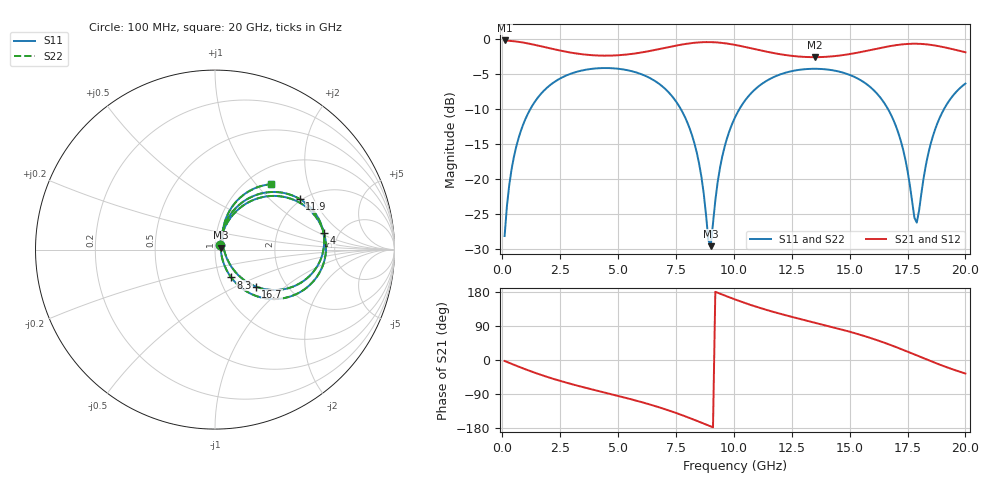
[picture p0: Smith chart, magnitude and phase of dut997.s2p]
! Touchstone file exported from HFSS 2026.1.0
!  File:  C:/ffzhzh/LocalFiles/Ansys_Project_Files/temp_train_TSV_RDL_997_1783289461_38820.aedt
!  Generated:  06:24:30 AM Jul  6, 2026
!  Design:  TSV_RDL
!  Project:  temp_train_TSV_RDL_997_1783289461_38820
! Variables:
!  h_bsmrdl = 5.44um
!  h_ox = 20um
!  h_rdl = 5um
!  h_sub = 67.99um
!  h_tmrdl = 4.85um
!  h_tsv = 67.99um
!  h_via = 3um
!  l_bsmrdl = 950.08um
!  l_sub = 6729.99um
!  l_tmrdl = 841.07um
!  m_sub = 200um
!  pitch = 59.52um
!  r_tsv = 11.59um
!  s_tmrdl = 10um
!  w_bsmrdl = 24.66um
!  w_sub = 500um
!  w_tmrdl = 13.83um
!  x_tsv_center1 = 847.985um
!  x_tsv_center2 = 1822.725um
!  x_tsv_center3 = 2677.625um
!  x_tsv_center4 = 3652.365um
!  x_tsv_center5 = 4507.265um
!  x_tsv_center6 = 5482.005um
# GHz S MA R 50.000000
! Terminal data exported
! Port[1] = TM_RDL1_1_T1
! Port[2] = TM_RDL5_1_T1
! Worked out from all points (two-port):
!   200 points, 100 MHz to 20 GHz, reference 50 ohm
!   highest |S21| = -0.23 dB at 100 MHz (marker M1); lowest = -2.6 dB at 13.5 GHz (marker M2)
!   |S21| within 3 dB of the highest: start of sweep to end of sweep
!   lowest |S11| = -29.6 dB at 9 GHz (marker M3), VSWR 1.07, Z = 53.2 + j1.14 ohm
!   |S11| at or under -10 dB: start of sweep to 1.215 GHz; 7.706 GHz to 10.24 GHz (2.539 GHz wide, 28.3 % of centre); 16.65 GHz to 19.08 GHz (2.429 GHz wide, 13.6 % of centre)
!   |S22| runs from -29.6 to -4.2 dB; largest |S21 - S12| = 1.7e-14
!   S11 on the Smith chart (normalised r, x): 100 MHz: 1.05, +0.06; 4 GHz: 3.83, +1.12; 8.3 GHz: 1.14, -0.36; 11.9 GHz: 1.95, +1.57; 16.7 GHz: 1.42, -0.64; 20 GHz: 1.27, +1.20
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0.1  0.03922 46.4  0.9738 -2.6  0.9738 -2.6  0.03922 46.4
! Gamma 0 0 0 0
! Port Impedance 50 0 50 0
0.3  0.09057 64.7  0.9689 -7.6  0.9689 -7.6  0.09057 64.7
0.5  0.1435 66.0  0.9617 -12.6  0.9617 -12.6  0.1435 66.0
1.1  0.2911 57.5  0.9279 -26.8  0.9279 -26.8  0.2911 57.5
2.1  0.4726 38.8  0.8525 -47.8  0.8525 -47.8  0.4726 38.8
3.5  0.5974 15.9  0.7746 -71.8  0.7746 -71.8  0.5974 15.9
4  0.6142 8.5  0.7622 -79.6  0.7622 -79.6  0.6142 8.5
5.4  0.5977 -12.0  0.7739 -101.0  0.7739 -101.0  0.5977 -12.0
6.8  0.4738 -34.6  0.8466 -125.4  0.8466 -125.4  0.4738 -34.6
8.3  0.1791 -59.9  0.9373 -158.0  0.9373 -158.0  0.1791 -59.9
9  0.03319 18.8  0.9476 -175.1  0.9476 -175.1  0.03324 18.7
9.4  0.1197 68.2  0.9387 175.1  0.9387 175.1  0.1197 68.2
10.1  0.2859 61.5  0.9022 158.7  0.9022 158.7  0.2859 61.5
11.9  0.5496 30.9  0.7818 123.7  0.7818 123.7  0.5495 30.9
13.4  0.6113 8.9  0.7402 100.0  0.7402 100.0  0.6113 8.9
13.5  0.6115 7.5  0.7401 98.5  0.7401 98.5  0.6114 7.5
15  0.5535 -14.4  0.7784 74.7  0.7784 74.7  0.5534 -14.4
16.7  0.3064 -42.2  0.8848 41.2  0.8848 41.2  0.3064 -42.1
17.3  0.1648 -47.8  0.914 27.0  0.914 27.0  0.1649 -47.6
17.9  0.0489 18.8  0.9226 12.1  0.9226 12.1  0.04948 18.8
18.7  0.2279 69.6  0.8956 -7.7  0.8956 -7.7  0.2281 69.5
20  0.4798 49.4  0.8028 -35.7  0.8028 -35.7  0.4799 49.3
